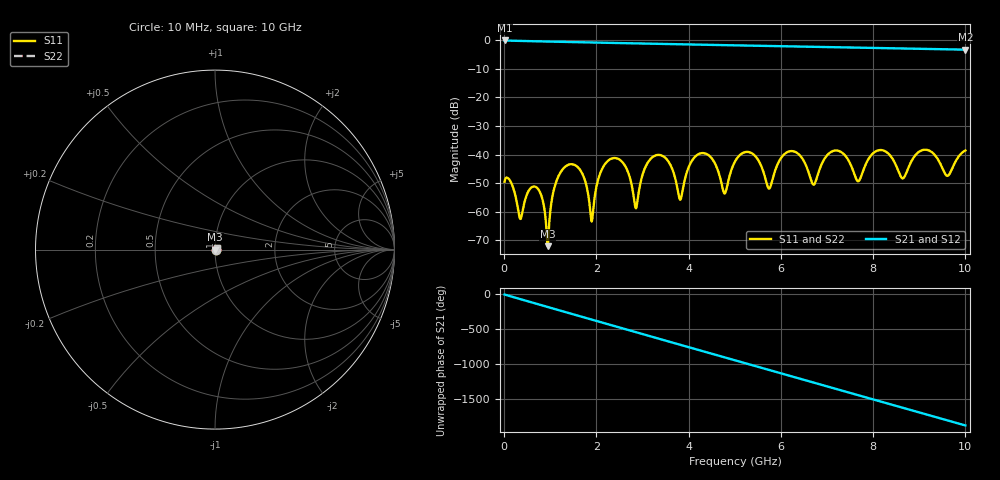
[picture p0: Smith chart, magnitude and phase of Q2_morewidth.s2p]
! Touchstone generated by fitter/viewer
# HZ S  RI R 5.000000e+001
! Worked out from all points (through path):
!   1000 points, 10 MHz to 10 GHz, reference 50 ohm
!   highest |S21| = -0.03 dB at 10 MHz (marker M1); lowest = -3.3 dB at 10 GHz (marker M2)
!   group delay of S21, straight-line fit = 519 ps
!   lowest |S11| = -72.0 dB at 940 MHz (marker M3), VSWR 1.00, Z = 50 + j0.0187 ohm
!   |S11| at or under -10 dB: start of sweep to end of sweep
!   |S22| runs from -72.0 to -38.3 dB; largest |S21 - S12| = 0
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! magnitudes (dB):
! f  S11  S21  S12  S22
! 10 MHz  -49.5  0.0  0.0  -49.5
! 350 MHz  -62.5  -0.2  -0.2  -62.5
! 720 MHz  -51.7  -0.3  -0.3  -51.7
! 940 MHz  -72.0  -0.4  -0.4  -72.0
! 1.22 GHz  -46.3  -0.5  -0.5  -46.3
! 1.68 GHz  -46.2  -0.7  -0.7  -46.2
! 1.89 GHz  -63.0  -0.7  -0.7  -63.0
! 2.36 GHz  -41.2  -0.9  -0.9  -41.2
! 2.86 GHz  -58.8  -1.1  -1.1  -58.8
! 3.34 GHz  -40.1  -1.2  -1.2  -40.1
! 3.82 GHz  -55.8  -1.4  -1.4  -55.8
! 4.2 GHz  -39.9  -1.5  -1.5  -39.9
! 4.78 GHz  -53.6  -1.7  -1.7  -53.6
! 5.01 GHz  -42.3  -1.7  -1.7  -42.3
! 5.75 GHz  -51.9  -2.0  -2.0  -51.9
! 6.28 GHz  -38.9  -2.1  -2.1  -38.9
! 6.67 GHz  -49.6  -2.3  -2.3  -49.6
! 7.13 GHz  -38.7  -2.4  -2.4  -38.7
! 7.67 GHz  -49.3  -2.6  -2.6  -49.3
! 8.34 GHz  -39.8  -2.8  -2.8  -39.8
! 8.64 GHz  -48.3  -2.8  -2.8  -48.3
! 10 GHz  -38.5  -3.3  -3.3  -38.5
